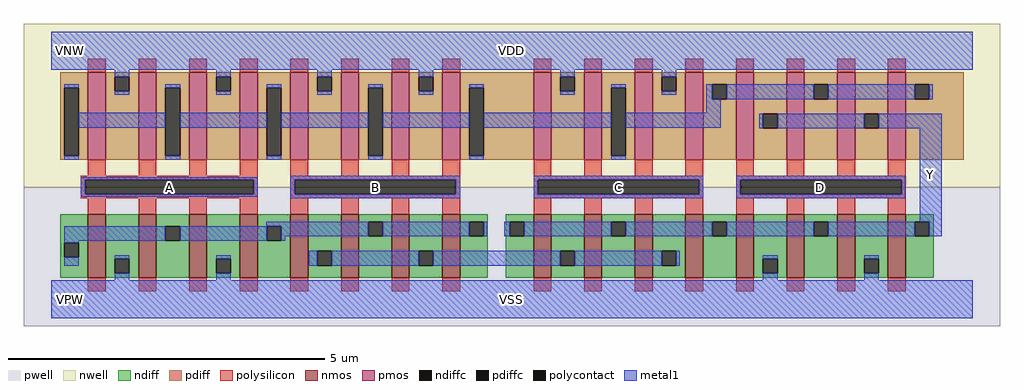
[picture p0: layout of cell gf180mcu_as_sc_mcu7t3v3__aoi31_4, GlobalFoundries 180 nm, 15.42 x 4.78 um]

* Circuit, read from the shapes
.subckt gf180mcu_as_sc_mcu7t3v3__aoi31_4 VDD VNW VPW VSS A B C D Y
XM1 VSS A n1 VPW nfet_03v3 w=1u l=0.28u m=4
XM2 n2 B n1 VPW nfet_03v3 w=1u l=0.28u m=4
XM3 n2 C Y VPW nfet_03v3 w=1u l=0.28u m=4
XM4 VSS D Y VPW nfet_03v3 w=1u l=0.28u m=4
XM5 VDD A n3 VNW pfet_03v3 w=1.38u l=0.28u m=4
XM6 VDD B n3 VNW pfet_03v3 w=1.38u l=0.28u m=4
XM7 VDD C n3 VNW pfet_03v3 w=1.38u l=0.28u m=4
XM8 Y D n3 VNW pfet_03v3 w=1.38u l=0.28u m=4
.ends

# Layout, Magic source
magic
tech gf180mcuD
magscale 1 10
<< nwell >>
rect -86 354 2998 870
<< pwell >>
rect -86 -86 2998 354
<< nmos >>
rect 116 68 172 268
rect 276 68 332 268
rect 436 68 492 268
rect 596 68 652 268
rect 756 68 812 268
rect 916 68 972 268
rect 1076 68 1132 268
rect 1236 68 1292 268
rect 1524 68 1580 268
rect 1684 68 1740 268
rect 1844 68 1900 268
rect 2004 68 2060 268
rect 2164 68 2220 268
rect 2324 68 2380 268
rect 2484 68 2540 268
rect 2644 68 2700 268
<< pmos >>
rect 116 440 172 716
rect 276 440 332 716
rect 436 440 492 716
rect 596 440 652 716
rect 756 440 812 716
rect 916 440 972 716
rect 1076 440 1132 716
rect 1236 440 1292 716
rect 1524 440 1580 716
rect 1684 440 1740 716
rect 1844 440 1900 716
rect 2004 440 2060 716
rect 2164 440 2220 716
rect 2324 440 2380 716
rect 2484 440 2540 716
rect 2644 440 2700 716
<< ndiff >>
rect 28 178 116 268
rect 28 132 41 178
rect 87 132 116 178
rect 28 68 116 132
rect 172 127 276 268
rect 172 81 201 127
rect 247 81 276 127
rect 172 68 276 81
rect 332 230 436 268
rect 332 184 361 230
rect 407 184 436 230
rect 332 68 436 184
rect 492 127 596 268
rect 492 81 521 127
rect 567 81 596 127
rect 492 68 596 81
rect 652 230 756 268
rect 652 184 681 230
rect 727 184 756 230
rect 652 68 756 184
rect 812 152 916 268
rect 812 106 841 152
rect 887 106 916 152
rect 812 68 916 106
rect 972 244 1076 268
rect 972 198 1001 244
rect 1047 198 1076 244
rect 972 68 1076 198
rect 1132 152 1236 268
rect 1132 106 1161 152
rect 1207 106 1236 152
rect 1132 68 1236 106
rect 1292 244 1380 268
rect 1292 198 1321 244
rect 1367 198 1380 244
rect 1292 68 1380 198
rect 1436 244 1524 268
rect 1436 198 1449 244
rect 1495 198 1524 244
rect 1436 68 1524 198
rect 1580 152 1684 268
rect 1580 106 1609 152
rect 1655 106 1684 152
rect 1580 68 1684 106
rect 1740 244 1844 268
rect 1740 198 1769 244
rect 1815 198 1844 244
rect 1740 68 1844 198
rect 1900 152 2004 268
rect 1900 106 1929 152
rect 1975 106 2004 152
rect 1900 68 2004 106
rect 2060 244 2164 268
rect 2060 198 2089 244
rect 2135 198 2164 244
rect 2060 68 2164 198
rect 2220 127 2324 268
rect 2220 81 2249 127
rect 2295 81 2324 127
rect 2220 68 2324 81
rect 2380 244 2484 268
rect 2380 198 2409 244
rect 2455 198 2484 244
rect 2380 68 2484 198
rect 2540 127 2644 268
rect 2540 81 2569 127
rect 2615 81 2644 127
rect 2540 68 2644 81
rect 2700 244 2788 268
rect 2700 198 2729 244
rect 2775 198 2788 244
rect 2700 68 2788 198
<< pdiff >>
rect 28 667 116 716
rect 28 453 41 667
rect 87 453 116 667
rect 28 440 116 453
rect 172 703 276 716
rect 172 657 201 703
rect 247 657 276 703
rect 172 440 276 657
rect 332 667 436 716
rect 332 453 361 667
rect 407 453 436 667
rect 332 440 436 453
rect 492 703 596 716
rect 492 657 521 703
rect 567 657 596 703
rect 492 440 596 657
rect 652 667 756 716
rect 652 453 681 667
rect 727 453 756 667
rect 652 440 756 453
rect 812 703 916 716
rect 812 657 841 703
rect 887 657 916 703
rect 812 440 916 657
rect 972 667 1076 716
rect 972 453 1001 667
rect 1047 453 1076 667
rect 972 440 1076 453
rect 1132 703 1236 716
rect 1132 657 1161 703
rect 1207 657 1236 703
rect 1132 440 1236 657
rect 1292 667 1524 716
rect 1292 453 1321 667
rect 1367 453 1524 667
rect 1292 440 1524 453
rect 1580 703 1684 716
rect 1580 657 1609 703
rect 1655 657 1684 703
rect 1580 440 1684 657
rect 1740 667 1844 716
rect 1740 453 1769 667
rect 1815 453 1844 667
rect 1740 440 1844 453
rect 1900 703 2004 716
rect 1900 657 1929 703
rect 1975 657 2004 703
rect 1900 440 2004 657
rect 2060 678 2164 716
rect 2060 632 2089 678
rect 2135 632 2164 678
rect 2060 440 2164 632
rect 2220 586 2324 716
rect 2220 540 2249 586
rect 2295 540 2324 586
rect 2220 440 2324 540
rect 2380 678 2484 716
rect 2380 632 2409 678
rect 2455 632 2484 678
rect 2380 440 2484 632
rect 2540 586 2644 716
rect 2540 540 2569 586
rect 2615 540 2644 586
rect 2540 440 2644 540
rect 2700 678 2884 716
rect 2700 632 2729 678
rect 2775 632 2884 678
rect 2700 440 2884 632
<< ndiffc >>
rect 41 132 87 178
rect 201 81 247 127
rect 361 184 407 230
rect 521 81 567 127
rect 681 184 727 230
rect 841 106 887 152
rect 1001 198 1047 244
rect 1161 106 1207 152
rect 1321 198 1367 244
rect 1449 198 1495 244
rect 1609 106 1655 152
rect 1769 198 1815 244
rect 1929 106 1975 152
rect 2089 198 2135 244
rect 2249 81 2295 127
rect 2409 198 2455 244
rect 2569 81 2615 127
rect 2729 198 2775 244
<< pdiffc >>
rect 41 453 87 667
rect 201 657 247 703
rect 361 453 407 667
rect 521 657 567 703
rect 681 453 727 667
rect 841 657 887 703
rect 1001 453 1047 667
rect 1161 657 1207 703
rect 1321 453 1367 667
rect 1609 657 1655 703
rect 1769 453 1815 667
rect 1929 657 1975 703
rect 2089 632 2135 678
rect 2249 540 2295 586
rect 2409 632 2455 678
rect 2569 540 2615 586
rect 2729 632 2775 678
<< polysilicon >>
rect 116 716 172 760
rect 276 716 332 760
rect 436 716 492 760
rect 596 716 652 760
rect 756 716 812 760
rect 916 716 972 760
rect 1076 716 1132 760
rect 1236 716 1292 760
rect 1524 716 1580 760
rect 1684 716 1740 760
rect 1844 716 1900 760
rect 2004 716 2060 760
rect 2164 716 2220 760
rect 2324 716 2380 760
rect 2484 716 2540 760
rect 2644 716 2700 760
rect 116 390 172 440
rect 276 390 332 440
rect 436 390 492 440
rect 596 390 652 440
rect 756 390 812 440
rect 916 390 972 440
rect 1076 390 1132 440
rect 1236 390 1292 440
rect 94 377 653 390
rect 94 331 107 377
rect 640 331 653 377
rect 94 318 653 331
rect 756 377 1292 390
rect 756 331 769 377
rect 1279 331 1292 377
rect 756 318 1292 331
rect 116 268 172 318
rect 276 268 332 318
rect 436 268 492 318
rect 596 268 652 318
rect 756 268 812 318
rect 916 268 972 318
rect 1076 268 1132 318
rect 1236 268 1292 318
rect 1524 390 1580 440
rect 1684 390 1740 440
rect 1844 390 1900 440
rect 2004 390 2060 440
rect 1524 377 2060 390
rect 1524 331 1537 377
rect 2047 331 2060 377
rect 1524 318 2060 331
rect 1524 268 1580 318
rect 1684 268 1740 318
rect 1844 268 1900 318
rect 2004 268 2060 318
rect 2164 390 2220 440
rect 2324 390 2380 440
rect 2484 390 2540 440
rect 2644 390 2700 440
rect 2164 377 2700 390
rect 2164 331 2177 377
rect 2687 331 2700 377
rect 2164 318 2700 331
rect 2164 268 2220 318
rect 2324 268 2380 318
rect 2484 268 2540 318
rect 2644 268 2700 318
rect 116 24 172 68
rect 276 24 332 68
rect 436 24 492 68
rect 596 24 652 68
rect 756 24 812 68
rect 916 24 972 68
rect 1076 24 1132 68
rect 1236 24 1292 68
rect 1524 24 1580 68
rect 1684 24 1740 68
rect 1844 24 1900 68
rect 2004 24 2060 68
rect 2164 24 2220 68
rect 2324 24 2380 68
rect 2484 24 2540 68
rect 2644 24 2700 68
<< polycontact >>
rect 107 331 640 377
rect 769 331 1279 377
rect 1537 331 2047 377
rect 2177 331 2687 377
<< metal1 >>
rect 0 724 2912 844
rect 201 703 247 724
rect 41 667 87 678
rect 521 703 567 724
rect 201 646 247 657
rect 361 667 407 678
rect 87 542 361 588
rect 41 440 87 453
rect 841 703 887 724
rect 521 646 567 657
rect 681 667 727 678
rect 407 542 681 588
rect 361 440 407 453
rect 1161 703 1207 724
rect 841 646 887 657
rect 1001 667 1047 678
rect 727 542 1001 588
rect 681 440 727 453
rect 1609 703 1655 724
rect 1161 646 1207 657
rect 1321 667 1367 678
rect 1047 542 1321 588
rect 1001 440 1047 453
rect 1929 703 1975 724
rect 1609 646 1655 657
rect 1769 667 1815 678
rect 1367 542 1769 588
rect 1321 440 1367 453
rect 1929 646 1975 657
rect 2070 632 2089 678
rect 2135 632 2409 678
rect 2455 632 2729 678
rect 2775 632 2786 678
rect 2070 588 2116 632
rect 1815 542 2116 588
rect 2237 540 2249 586
rect 2295 540 2569 586
rect 2615 540 2814 586
rect 1769 440 1815 453
rect 94 377 653 385
rect 94 331 107 377
rect 640 331 653 377
rect 94 323 653 331
rect 756 377 1292 390
rect 756 331 769 377
rect 1279 331 1292 377
rect 756 318 1292 331
rect 1524 377 2060 390
rect 1524 331 1537 377
rect 2047 331 2060 377
rect 1524 318 2060 331
rect 2164 377 2699 390
rect 2164 331 2177 377
rect 2687 331 2699 377
rect 2164 318 2699 331
rect 2745 244 2814 540
rect 680 230 1001 244
rect 41 184 361 230
rect 407 184 681 230
rect 727 198 1001 230
rect 1047 198 1321 244
rect 1367 198 1378 244
rect 1431 198 1449 244
rect 1495 198 1769 244
rect 1815 198 2089 244
rect 2135 198 2409 244
rect 2455 198 2729 244
rect 2775 198 2814 244
rect 727 184 740 198
rect 41 178 87 184
rect 41 106 87 132
rect 201 127 247 138
rect 201 60 247 81
rect 521 127 567 138
rect 814 106 841 152
rect 887 106 1161 152
rect 1207 106 1609 152
rect 1655 106 1929 152
rect 1975 106 1986 152
rect 2249 127 2295 138
rect 521 60 567 81
rect 2249 60 2295 81
rect 2569 127 2615 138
rect 2569 60 2615 81
rect 0 -60 2912 60
<< labels >>
flabel metal1 s 0 724 2912 844 0 FreeSans 400 0 0 0 VDD
port 1 nsew power bidirectional abutment
flabel metal1 s 0 -60 2912 60 0 FreeSans 400 0 0 0 VSS
port 4 nsew ground bidirectional abutment
flabel nwell s 10 734 110 834 0 FreeSans 400 0 0 0 VNW
port 2 nsew power bidirectional
flabel pwell s 10 -50 110 50 0 FreeSans 400 0 0 0 VPW
port 3 nsew ground bidirectional
flabel metal1 94 323 653 385 0 FreeSans 200 0 0 0 A
port 5 nsew signal input
flabel metal1 756 318 1292 390 0 FreeSans 200 0 0 0 B
port 6 nsew signal input
flabel metal1 1524 318 2060 390 0 FreeSans 200 0 0 0 C
port 7 nsew signal input
flabel metal1 2164 318 2699 390 0 FreeSans 200 0 0 0 D
port 8 nsew signal input
flabel metal1 2745 198 2814 586 0 FreeSans 200 0 0 0 Y
port 9 nsew signal output
<< properties >>
string FIXED_BBOX 0 0 2912 784
string LEFclass CORE
string LEFsite unithd
string LEFsymmetry X Y
string MASKHINTS_NPLUS -16 -46 2928 354
string MASKHINTS_PPLUS -16 354 2928 830
<< end >>
